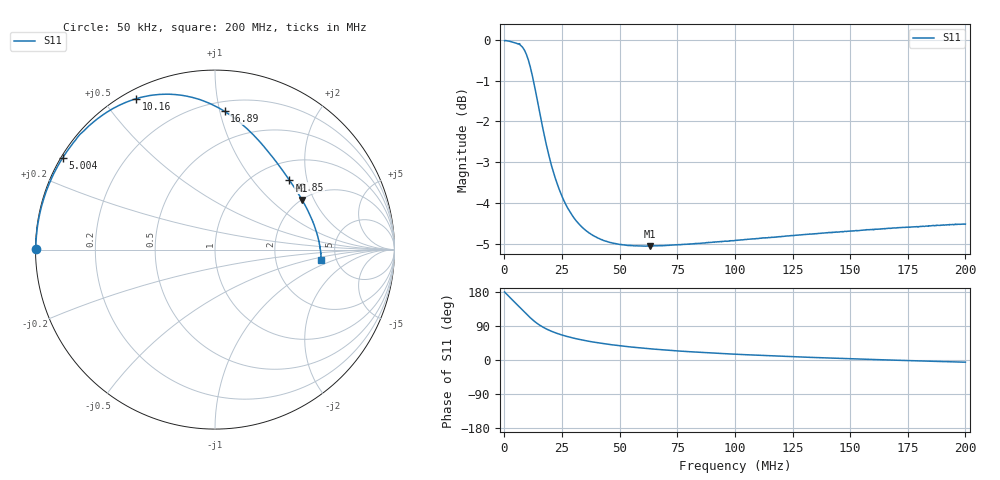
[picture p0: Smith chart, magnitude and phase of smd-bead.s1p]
# HZ S RI R 50
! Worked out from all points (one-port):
!   1010 points, 50 kHz to 200 MHz, reference 50 ohm
!   lowest |S11| = -5.1 dB at 63.07 MHz (marker M1), VSWR 3.53, Z = 101 + j80.9 ohm
!   |S11| at or under -10 dB: nowhere
!   S11 on the Smith chart (normalised r, x): 50 kHz: 0.00, +0.00; 5.004 MHz: 0.01, +0.28; 10.16 MHz: 0.04, +0.61; 16.89 MHz: 0.27, +1.03; 42.85 MHz: 1.37, +1.57; 200 MHz: 3.79, -0.70
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50000  -0.9975 0.00478
842600  -0.9929 0.0977
2428000  -0.9599 0.2643
3617000  -0.9168 0.3827
5004100  -0.8484 0.5117
6391300  -0.7661 0.6256
7778500  -0.6549 0.7288
8967500  -0.5506 0.7954
1.01565e7  -0.4383 0.841
1.17418e7  -0.2896 0.8654
1.37235e7  -0.1276 0.8482
1.53088e7  -0.0259 0.8129
1.68941e7  0.0532 0.7705
1.84795e7  0.1147 0.7278
2.046117e7  0.1736 0.6779
2.264097e7  0.2221 0.6304
2.521717e7  0.2658 0.5823
2.858597e7  0.3088 0.5304
3.274747e7  0.3485 0.4791
4.285404e7  0.4131 0.3889
5.018614e7  0.4453 0.3412
6.30671e7  0.4852 0.276
7.51552e7  0.5121 0.2277
1.001243e8  0.5472 0.1495
1.250933e8  0.5685 0.0872
1.500624e8  0.5817 0.0333
1.750314e8  0.5889 -0.0149
2.000004e8  0.591 -0.06
